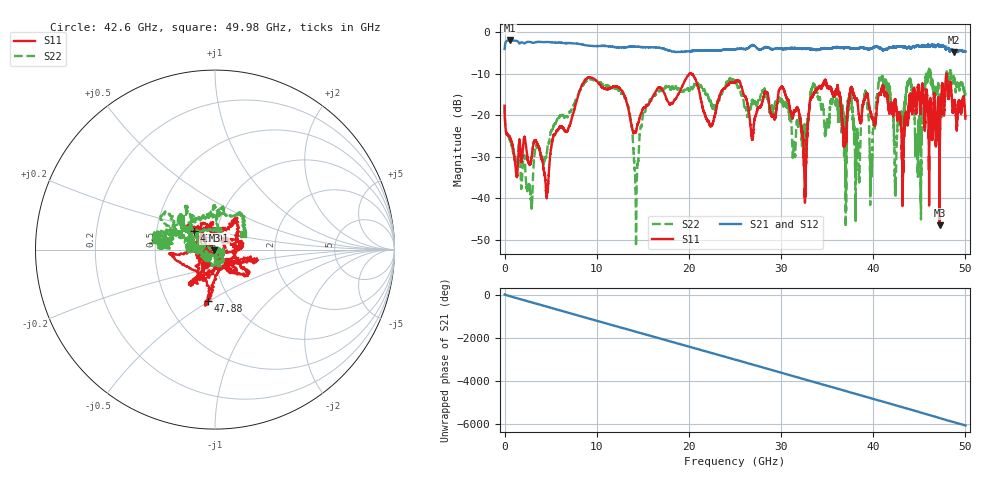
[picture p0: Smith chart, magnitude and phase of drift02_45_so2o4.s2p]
!Created with skrf (http://scikit-rf.org).
# Hz S RI R 50.0
!freq ReS11 ImS11 ReS21 ImS21 ReS12 ImS12 ReS22 ImS22
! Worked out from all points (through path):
!   10001 points, 300 kHz to 50 GHz, reference 50 ohm
!   highest |S21| = -1.99 dB at 590.3 MHz (marker M1); lowest = -4.8 dB at 48.76 GHz (marker M2)
!   group delay of S21, straight-line fit = 337 ps
!   lowest |S11| = -46.5 dB at 47.2 GHz (marker M3), VSWR 1.01, Z = 49.7 - j0.347 ohm
!   |S11| at or under -10 dB: start of sweep to 20.06 GHz; 20.2079 GHz to 20.22026 GHz (12.36 MHz wide, 0.0611 % of centre); 20.24 GHz to end of sweep (the widest 3 of 7)
!   |S22| runs from -51.5 to -8.8 dB; largest |S21 - S12| = 0.032
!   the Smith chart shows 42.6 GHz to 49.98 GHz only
!   S11 on the Smith chart (normalised r, x): 42.6 GHz: 0.88, -0.14; 43.91 GHz: 0.78, +0.16; 47.88 GHz: 0.79, -0.49; 49.98 GHz: 1.15, -0.15
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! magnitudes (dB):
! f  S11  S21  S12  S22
! 300 kHz  -17.7  -4.0  -4.0  -17.5
! 590.3 MHz  -25.3  -2.0  -2.0  -26.1
! 4.565 GHz  -39.7  -2.4  -2.4  -29.3
! 8.335 GHz  -13.0  -2.9  -2.9  -13.2
! 13.01 GHz  -15.3  -3.7  -3.6  -15.7
! 14.28 GHz  -23.8  -3.5  -3.5  -49.6
! 16.67 GHz  -13.4  -3.7  -3.7  -14.5
! 25 GHz  -12.1  -4.1  -4.1  -12.1
! 30.18 GHz  -13.3  -4.0  -4.1  -16.6
! 32.57 GHz  -38.0  -3.9  -3.9  -24.9
! 33.34 GHz  -15.6  -4.0  -4.1  -13.6
! 38.29 GHz  -16.8  -3.9  -3.8  -24.3
! 41.67 GHz  -18.4  -3.8  -3.9  -12.3
! 42.6 GHz  -20.3  -3.5  -3.5  -24.1
! 43.91 GHz  -16.2  -3.6  -3.6  -11.9
! 44.99 GHz  -14.5  -3.3  -3.3  -20.2
! 45.91 GHz  -18.1  -3.2  -3.2  -10.6
! 47.2 GHz  -46.5  -3.5  -3.4  -16.6
! 47.88 GHz  -10.8  -4.1  -4.1  -12.5
! 48.76 GHz  -16.8  -4.8  -4.8  -10.8
! 49.98 GHz  -20.1  -4.6  -4.6  -14.9
! 50 GHz  -20.8  -4.7  -4.6  -15.3
